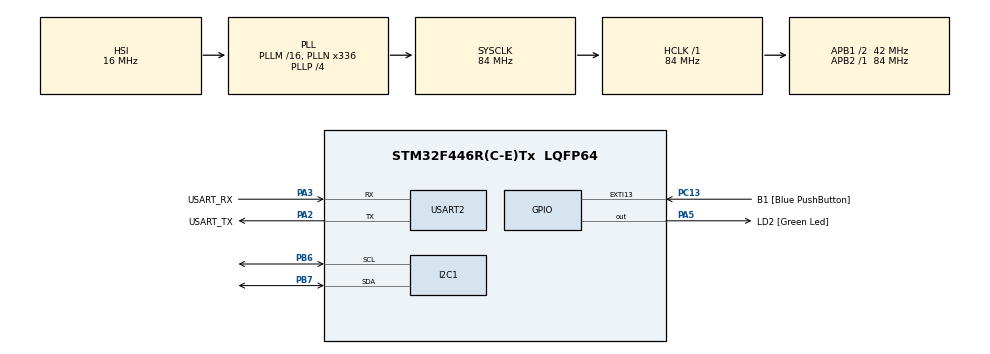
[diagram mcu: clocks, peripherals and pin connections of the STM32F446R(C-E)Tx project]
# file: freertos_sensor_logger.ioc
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FREERTOS.Tasks01=defaultTask,24,128,StartDefaultTask,Default,NULL,Dynamic,NULL,NULL
Mcu.Family=STM32F4
Mcu.Name=STM32F446R(C-E)Tx
Mcu.Package=LQFP64
NVIC.PriorityGroup=NVIC_PRIORITYGROUP_4
NVIC.TIM1_UP_TIM10_IRQn=true\:15\:0\:false\:false\:true\:false\:false\:true\:true
NVIC.TimeBase=TIM1_UP_TIM10_IRQn
NVIC.TimeBaseIP=TIM1
PA13.GPIO_Label=TMS
PA13.Mode=Serial_Wire
PA13.Signal=SYS_JTMS-SWDIO
PA14.GPIO_Label=TCK
PA14.Mode=Serial_Wire
PA14.Signal=SYS_JTCK-SWCLK
PA2.GPIO_Label=USART_TX
PA2.Mode=Asynchronous
PA2.Signal=USART2_TX
PA3.GPIO_Label=USART_RX
PA3.Mode=Asynchronous
PA3.Signal=USART2_RX
PA5.GPIO_Label=LD2 [Green Led]
PA5.Signal=GPIO_Output
PB3.GPIO_Label=SWO
PB3.Signal=SYS_JTDO-SWO
PB6.Mode=I2C
PB6.Signal=I2C1_SCL
PB7.Mode=I2C
PB7.Signal=I2C1_SDA
PC13.GPIO_Label=B1 [Blue PushButton]
PC13.GPIO_ModeDefaultEXTI=GPIO_MODE_IT_FALLING
PC13.Signal=GPXTI13
PC14-OSC32_IN.Mode=LSE-External-Oscillator
PC14-OSC32_IN.Signal=RCC_OSC32_IN
PC15-OSC32_OUT.Mode=LSE-External-Oscillator
PC15-OSC32_OUT.Signal=RCC_OSC32_OUT
PH0-OSC_IN.Mode=HSE-External-Oscillator
PH0-OSC_IN.Signal=RCC_OSC_IN
PH1-OSC_OUT.Mode=HSE-External-Oscillator
PH1-OSC_OUT.Signal=RCC_OSC_OUT
ProjectManager.HeapSize=0x200
ProjectManager.StackSize=0x400
ProjectManager.TargetToolchain=STM32CubeIDE
RCC.48MHZClocksFreq_Value=84000000
RCC.AHBFreq_Value=84000000
RCC.APB1CLKDivider=RCC_HCLK_DIV2
RCC.APB1Freq_Value=42000000
RCC.APB1TimFreq_Value=84000000
RCC.APB2Freq_Value=84000000
RCC.APB2TimFreq_Value=84000000
RCC.CortexFreq_Value=84000000
RCC.FLatency-AdvancedSettings=FLASH_LATENCY_2
RCC.HCLKFreq_Value=84000000
RCC.HSE_VALUE=8000000
RCC.HSI_VALUE=16000000
RCC.PLLN=336
RCC.PLLP=RCC_PLLP_DIV4
RCC.SYSCLKFreq_VALUE=84000000
RCC.SYSCLKSource=RCC_SYSCLKSOURCE_PLLCLK
RCC.USBFreq_Value=168000000
RCC.VCOOutputFreq_Value=336000000
USART2.VirtualMode=VM_ASYNC
VP_FREERTOS_VS_CMSIS_V2.Mode=CMSIS_V2
VP_SYS_VS_tim1.Mode=TIM1
board=NUCLEO-F446RE

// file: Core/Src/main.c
/* USER CODE BEGIN Header */
/**
  ******************************************************************************
  * @file           : main.c
  * @brief          : Main program body
  ******************************************************************************
  * @attention
  *
  * Copyright (c) 2026 STMicroelectronics.
  * All rights reserved.
  *
  * This software is licensed under terms that can be found in the LICENSE file
  * in the root directory of this software component.
  * If no LICENSE file comes with this software, it is provided AS-IS.
  *
  ******************************************************************************
  */
/* USER CODE END Header */
#include "main.h"
#include "cmsis_os.h"

/* USER CODE BEGIN Includes */
#include <string.h>
#include <stdio.h>
/* USER CODE END Includes */

/* USER CODE BEGIN PTD */
typedef struct {
    float accel_x;
    float accel_y;
    float accel_z;
} MPU6050_Data_t;
/* USER CODE END PTD */

I2C_HandleTypeDef hi2c1;

UART_HandleTypeDef huart2;

/* Definitions for defaultTask */
osThreadId_t defaultTaskHandle;
const osThreadAttr_t defaultTask_attributes = {
  .name = "defaultTask",
  .stack_size = 128 * 4,
  .priority = (osPriority_t) osPriorityNormal,
};
/* USER CODE BEGIN PV */
QueueHandle_t dataQueue;
SemaphoreHandle_t i2cMutex;
/* USER CODE END PV */

void SystemClock_Config(void);
static void MX_GPIO_Init(void);
static void MX_I2C1_Init(void);
static void MX_USART2_UART_Init(void);
void StartDefaultTask(void *argument);

/* USER CODE BEGIN PFP */
void SensorTask(void *argument);
void LoggerTask(void *argument);
void LEDTask(void *argument);
/* USER CODE END PFP */

int main(void)
{

  /* MCU Configuration--------------------------------------------------------*/

  /* Reset of all peripherals, Initializes the Flash interface and the Systick. */
  HAL_Init();

  /* Configure the system clock */
  SystemClock_Config();

  /* Initialize all configured peripherals */
  MX_GPIO_Init();
  MX_I2C1_Init();
  MX_USART2_UART_Init();

  /* Init scheduler */
  osKernelInitialize();

  /* USER CODE BEGIN RTOS_MUTEX */
  i2cMutex = xSemaphoreCreateMutex();
  /* add mutexes, ... */
  /* USER CODE END RTOS_MUTEX */

  /* USER CODE BEGIN RTOS_QUEUES */
  dataQueue = xQueueCreate(10, sizeof(MPU6050_Data_t));
  /* add queues, ... */
  /* USER CODE END RTOS_QUEUES */

  /* Create the thread(s) */
  /* creation of defaultTask */
  defaultTaskHandle = osThreadNew(StartDefaultTask, NULL, &defaultTask_attributes);

  /* USER CODE BEGIN RTOS_THREADS */
  osThreadNew(SensorTask, NULL, &(osThreadAttr_t){
      .name = "Sensor",
      .stack_size = 256 * 4,
      .priority = osPriorityAboveNormal
  });

  osThreadNew(LoggerTask, NULL, &(osThreadAttr_t){
      .name = "Logger",
      .stack_size = 256 * 4,
      .priority = osPriorityNormal
  });

  osThreadNew(LEDTask, NULL, &(osThreadAttr_t){
      .name = "LED",
      .stack_size = 128 * 4,
      .priority = osPriorityBelowNormal
  });
  /* add threads, ... */
  /* USER CODE END RTOS_THREADS */

  /* Start scheduler */
  osKernelStart();

  /* We should never get here as control is now taken by the scheduler */

  /* Infinite loop */
  while (1)
  {

  }
}

void SystemClock_Config(void)
{
  RCC_OscInitTypeDef RCC_OscInitStruct = {0};
  RCC_ClkInitTypeDef RCC_ClkInitStruct = {0};

  /** Configure the main internal regulator output voltage
  */
  __HAL_RCC_PWR_CLK_ENABLE();
  __HAL_PWR_VOLTAGESCALING_CONFIG(PWR_REGULATOR_VOLTAGE_SCALE3);

  /** Initializes the RCC Oscillators according to the specified parameters
  * in the RCC_OscInitTypeDef structure.
  */
  RCC_OscInitStruct.OscillatorType = RCC_OSCILLATORTYPE_HSI;
  RCC_OscInitStruct.HSIState = RCC_HSI_ON;
  RCC_OscInitStruct.HSICalibrationValue = RCC_HSICALIBRATION_DEFAULT;
  RCC_OscInitStruct.PLL.PLLState = RCC_PLL_ON;
  RCC_OscInitStruct.PLL.PLLSource = RCC_PLLSOURCE_HSI;
  RCC_OscInitStruct.PLL.PLLM = 16;
  RCC_OscInitStruct.PLL.PLLN = 336;
  RCC_OscInitStruct.PLL.PLLP = RCC_PLLP_DIV4;
  RCC_OscInitStruct.PLL.PLLQ = 2;
  RCC_OscInitStruct.PLL.PLLR = 2;
  if (HAL_RCC_OscConfig(&RCC_OscInitStruct) != HAL_OK)
  {
    Error_Handler();
  }

  /** Initializes the CPU, AHB and APB buses clocks
  */
  RCC_ClkInitStruct.ClockType = RCC_CLOCKTYPE_HCLK|RCC_CLOCKTYPE_SYSCLK
                              |RCC_CLOCKTYPE_PCLK1|RCC_CLOCKTYPE_PCLK2;
  RCC_ClkInitStruct.SYSCLKSource = RCC_SYSCLKSOURCE_PLLCLK;
  RCC_ClkInitStruct.AHBCLKDivider = RCC_SYSCLK_DIV1;
  RCC_ClkInitStruct.APB1CLKDivider = RCC_HCLK_DIV2;
  RCC_ClkInitStruct.APB2CLKDivider = RCC_HCLK_DIV1;

  if (HAL_RCC_ClockConfig(&RCC_ClkInitStruct, FLASH_LATENCY_2) != HAL_OK)
  {
    Error_Handler();
  }
}

static void MX_I2C1_Init(void)
{

  hi2c1.Instance = I2C1;
  hi2c1.Init.ClockSpeed = 100000;
  hi2c1.Init.DutyCycle = I2C_DUTYCYCLE_2;
  hi2c1.Init.OwnAddress1 = 0;
  hi2c1.Init.AddressingMode = I2C_ADDRESSINGMODE_7BIT;
  hi2c1.Init.DualAddressMode = I2C_DUALADDRESS_DISABLE;
  hi2c1.Init.OwnAddress2 = 0;
  hi2c1.Init.GeneralCallMode = I2C_GENERALCALL_DISABLE;
  hi2c1.Init.NoStretchMode = I2C_NOSTRETCH_DISABLE;
  if (HAL_I2C_Init(&hi2c1) != HAL_OK)
  {
    Error_Handler();
  }

}

static void MX_USART2_UART_Init(void)
{

  huart2.Instance = USART2;
  huart2.Init.BaudRate = 115200;
  huart2.Init.WordLength = UART_WORDLENGTH_8B;
  huart2.Init.StopBits = UART_STOPBITS_1;
  huart2.Init.Parity = UART_PARITY_NONE;
  huart2.Init.Mode = UART_MODE_TX_RX;
  huart2.Init.HwFlowCtl = UART_HWCONTROL_NONE;
  huart2.Init.OverSampling = UART_OVERSAMPLING_16;
  if (HAL_UART_Init(&huart2) != HAL_OK)
  {
    Error_Handler();
  }

}

static void MX_GPIO_Init(void)
{
  GPIO_InitTypeDef GPIO_InitStruct = {0};

  /* GPIO Ports Clock Enable */
  __HAL_RCC_GPIOC_CLK_ENABLE();
  __HAL_RCC_GPIOH_CLK_ENABLE();
  __HAL_RCC_GPIOA_CLK_ENABLE();
  __HAL_RCC_GPIOB_CLK_ENABLE();

  /*Configure GPIO pin Output Level */
  HAL_GPIO_WritePin(LD2_GPIO_Port, LD2_Pin, GPIO_PIN_RESET);

  /*Configure GPIO pin : B1_Pin */
  GPIO_InitStruct.Pin = B1_Pin;
  GPIO_InitStruct.Mode = GPIO_MODE_IT_FALLING;
  GPIO_InitStruct.Pull = GPIO_NOPULL;
  HAL_GPIO_Init(B1_GPIO_Port, &GPIO_InitStruct);

  /*Configure GPIO pin : LD2_Pin */
  GPIO_InitStruct.Pin = LD2_Pin;
  GPIO_InitStruct.Mode = GPIO_MODE_OUTPUT_PP;
  GPIO_InitStruct.Pull = GPIO_NOPULL;
  GPIO_InitStruct.Speed = GPIO_SPEED_FREQ_LOW;
  HAL_GPIO_Init(LD2_GPIO_Port, &GPIO_InitStruct);

}

/* USER CODE BEGIN 4 */
void SensorTask(void *argument)
{
    MPU6050_Data_t data;
    uint8_t raw[6];
    int16_t raw_x, raw_y, raw_z;

    for(;;)
    {
        // Take the mutex before using I2C
        xSemaphoreTake(i2cMutex, portMAX_DELAY);

        // Tell MPU6050 we want to read accelerometer registers
        uint8_t reg = 0x3B;
        HAL_I2C_Master_Transmit(&hi2c1, 0xD0, &reg, 1, 100);
        HAL_I2C_Master_Receive(&hi2c1, 0xD0, raw, 6, 100);

        // Release the mutex
        xSemaphoreGive(i2cMutex);

        // Convert raw bytes to Gs
        raw_x = (int16_t)(raw[0] << 8 | raw[1]);
        raw_y = (int16_t)(raw[2] << 8 | raw[3]);
        raw_z = (int16_t)(raw[4] << 8 | raw[5]);

        data.accel_x = raw_x / 16384.0f;
        data.accel_y = raw_y / 16384.0f;
        data.accel_z = raw_z / 16384.0f;

        // Send to queue
        xQueueSend(dataQueue, &data, 0);

        osDelay(10);
    }
}

void LoggerTask(void *argument)
{
    MPU6050_Data_t data;
    char buf[64];
    int len;

    for(;;)
    {
        // Block here until data arrives in the queue
        if(xQueueReceive(dataQueue, &data, portMAX_DELAY))
        {
            len = snprintf(buf, sizeof(buf),
                "X:%.2f Y:%.2f Z:%.2f\r\n",
                data.accel_x, data.accel_y, data.accel_z);
            HAL_UART_Transmit(&huart2, (uint8_t*)buf, len, 100);
        }
    }
}

void LEDTask(void *argument)
{
    for(;;)
    {
    	osDelay(1);
    }
}
/* USER CODE END 4 */

void StartDefaultTask(void *argument)
{
  /* USER CODE BEGIN 5 */
  /* Infinite loop */
  for(;;)
  {
	  HAL_GPIO_TogglePin(LD2_GPIO_Port, LD2_Pin);
	  osDelay(500);
  }
  /* USER CODE END 5 */
}

void HAL_TIM_PeriodElapsedCallback(TIM_HandleTypeDef *htim)
{
  if (htim->Instance == TIM1)
  {
    HAL_IncTick();
  }
}

void Error_Handler(void)
{
  __disable_irq();
  while (1)
  {
  }
}
